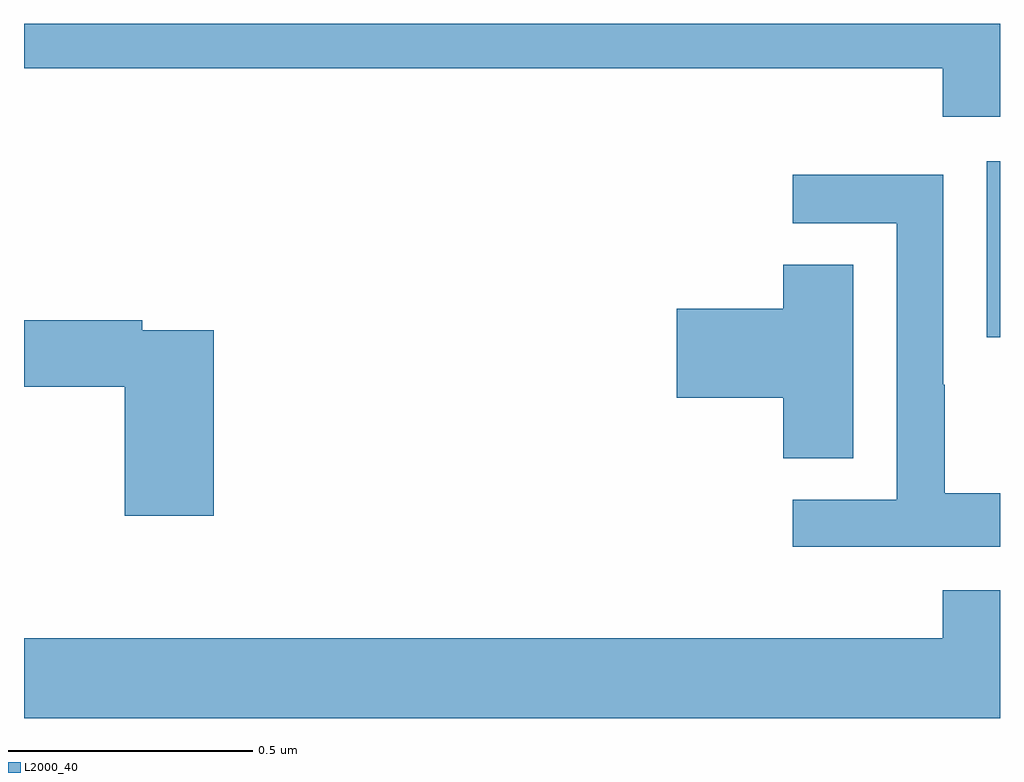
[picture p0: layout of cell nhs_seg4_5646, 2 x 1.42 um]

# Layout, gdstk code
import gdstk
lib = gdstk.Library(unit=1e-6, precision=1e-09)
def R(c, l, rs):  # rectangles x0, y0, x1, y1
    for r in rs: c.add(gdstk.rectangle(r[:2], r[2:], *l))
def P(c, l, *ps):  # polygons
    for p in ps: c.add(gdstk.Polygon(p, *l))
L2000_40 = (2000, 40)

nhs_seg4_5646 = lib.new_cell('nhs_seg4_5646')
R(nhs_seg4_5646, L2000_40, [(181.973,808.257,182,808.618)])
P(nhs_seg4_5646, L2000_40, [(182,808.9),(180,808.9),(180,808.808),(181.883,808.808),(181.883,808.709),(182,808.709)],
  [(182,807.937),(181.887,807.937),(181.887,808.16),(181.884,808.16),(181.884,808.59),(181.575,808.59),(181.575,808.491),(181.788,808.491),(181.788,807.924),(181.575,807.924),(181.575,807.828),(182,807.828)],
  [(181.699,808.406),(181.556,808.406),(181.556,808.316),(181.338,808.316),(181.338,808.133),(181.556,808.133),(181.556,808.009),(181.699,808.009)],
  [(180.389,808.272),(180.242,808.272),(180.242,808.292),(180,808.292),(180,808.156),(180.206,808.156),(180.206,807.891),(180.389,807.891)],
  [(182,807.739),(181.883,807.739),(181.883,807.64),(180,807.64),(180,807.476),(182,807.476)])

lib.write_gds('nhs_seg4_5646.gds')
